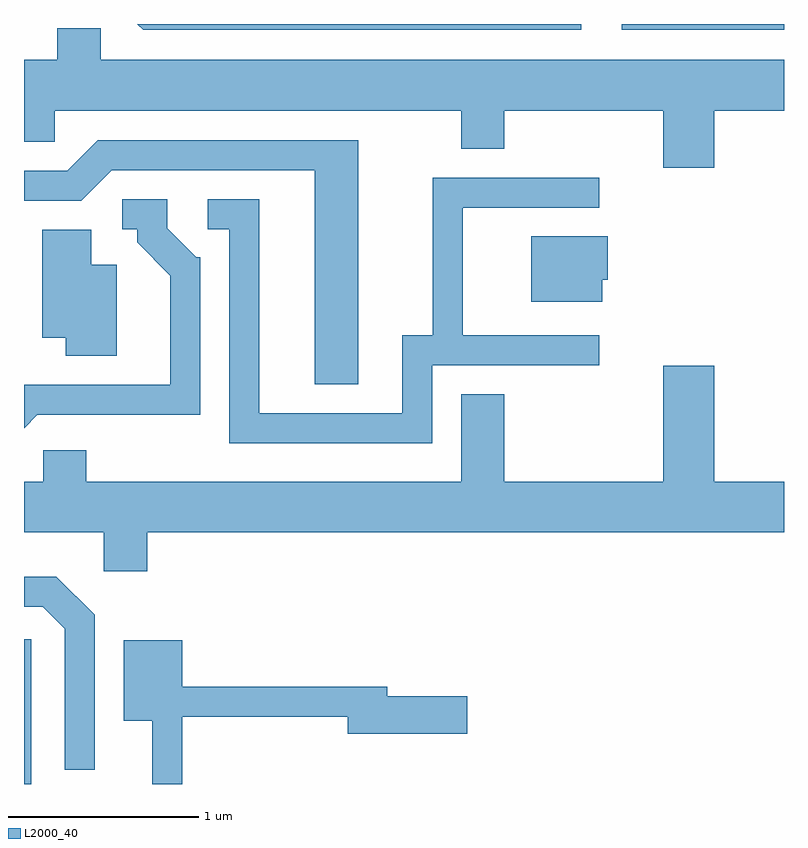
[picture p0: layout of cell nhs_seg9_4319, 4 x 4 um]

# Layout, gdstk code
import gdstk
lib = gdstk.Library(unit=1e-6, precision=1e-09)
def R(c, l, rs):  # rectangles x0, y0, x1, y1
    for r in rs: c.add(gdstk.rectangle(r[:2], r[2:], *l))
def P(c, l, *ps):  # polygons
    for p in ps: c.add(gdstk.Polygon(p, *l))
L2000_40 = (2000, 40)

nhs_seg9_4319 = lib.new_cell('nhs_seg9_4319')
R(nhs_seg9_4319, L2000_40, [(311.611,2050.432,311.649,2051.194), (314.756,2054.401,315.611,2054.432)])
P(nhs_seg9_4319, L2000_40, [(314.544,2054.432),(312.208,2054.432),(312.239,2054.401),(314.544,2054.401)],
  [(315.244,2053.976),(315.611,2053.976),(315.611,2054.244),(312.014,2054.244),(312.014,2054.409),(311.786,2054.409),(311.786,2054.244),(311.611,2054.244),(311.611,2053.811),(311.774,2053.811),(311.774,2053.976),(313.911,2053.976),(313.911,2053.776),(314.139,2053.776),(314.139,2053.976),(314.976,2053.976),(314.976,2053.676),(315.244,2053.676)],
  [(313.369,2053.819),(311.999,2053.819),(311.839,2053.659),(311.611,2053.659),(311.611,2053.501),(311.912,2053.501),(312.072,2053.661),(313.141,2053.661),(313.141,2052.536),(313.369,2052.536)],
  [(313.759,2052.636),(314.638,2052.636),(314.638,2052.794),(313.919,2052.794),(313.919,2053.466),(314.638,2053.466),(314.638,2053.624),(313.761,2053.624),(313.761,2052.794),(313.601,2052.794),(313.601,2052.384),(312.849,2052.384),(312.849,2053.509),(312.578,2053.509),(312.578,2053.351),(312.691,2053.351),(312.691,2052.226),(313.759,2052.226)],
  [(311.682,2052.376),(312.539,2052.376),(312.539,2053.204),(312.517,2053.204),(312.364,2053.356),(312.364,2053.509),(312.128,2053.509),(312.128,2053.351),(312.206,2053.351),(312.206,2053.284),(312.381,2053.108),(312.381,2052.534),(311.611,2052.534),(311.611,2052.305)],
  [(312.099,2053.164),(311.964,2053.164),(311.964,2053.349),(311.706,2053.349),(311.706,2052.781),(311.831,2052.781),(311.831,2052.686),(312.099,2052.686)],
  [(314.654,2053.086),(314.684,2053.086),(314.684,2053.314),(314.281,2053.314),(314.281,2052.971),(314.654,2052.971)],
  [(312.259,2051.756),(315.611,2051.756),(315.611,2052.024),(315.244,2052.024),(315.244,2052.634),(314.976,2052.634),(314.976,2052.024),(314.139,2052.024),(314.139,2052.484),(313.911,2052.484),(313.911,2052.024),(311.939,2052.024),(311.939,2052.189),(311.711,2052.189),(311.711,2052.024),(311.611,2052.024),(311.611,2051.756),(312.031,2051.756),(312.031,2051.551),(312.259,2051.551)],
  [(311.984,2051.322),(311.782,2051.524),(311.611,2051.524),(311.611,2051.366),(311.709,2051.366),(311.826,2051.249),(311.826,2050.508),(311.984,2050.508)],
  [(312.444,2050.786),(313.316,2050.786),(313.316,2050.696),(313.944,2050.696),(313.944,2050.894),(313.524,2050.894),(313.524,2050.944),(312.444,2050.944),(312.444,2051.189),(312.136,2051.189),(312.136,2050.766),(312.286,2050.766),(312.286,2050.432),(312.444,2050.432)])

lib.write_gds('nhs_seg9_4319.gds')
